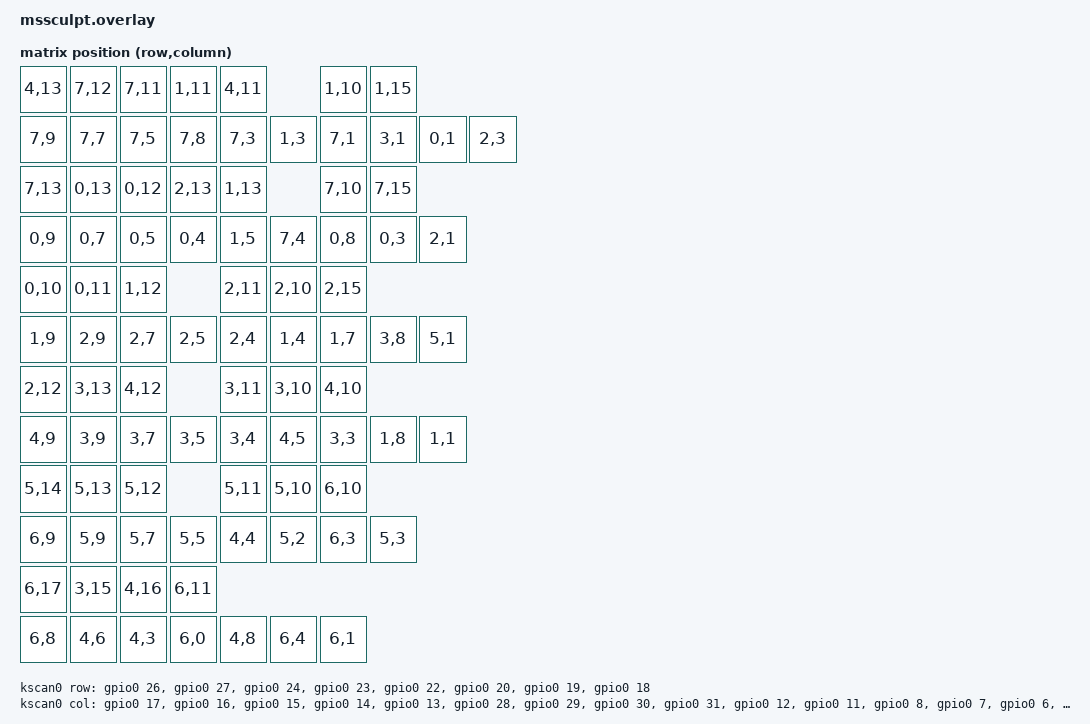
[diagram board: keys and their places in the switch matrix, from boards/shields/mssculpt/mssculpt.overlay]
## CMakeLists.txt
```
cmake_minimum_required(VERSION 3.13.1)

set(CONFIG_APPLICATION_DEFINED_SYSCALL true)
list(APPEND BOARD_ROOT ${CMAKE_SOURCE_DIR})
list(APPEND DTS_ROOT ${CMAKE_SOURCE_DIR})

# Add our custom Zephyr module for drivers w/ syscalls, etc.
list(APPEND DTS_ROOT ${CMAKE_SOURCE_DIR}/drivers/zephyr)

list(APPEND ZEPHYR_EXTRA_MODULES
  ${CMAKE_CURRENT_SOURCE_DIR}/drivers
)

include(cmake/zmk_config.cmake)

# Find Zephyr. This also loads Zephyr's build system.
find_package(Zephyr REQUIRED HINTS $ENV{ZEPHYR_BASE})
project(zmk)

zephyr_linker_sources(RODATA include/linker/zmk-events.ld)

# Add your source file to the "app" target. This must come after
# find_package(Zephyr) which defines the target.
target_include_directories(app PRIVATE include)
target_sources_ifdef(CONFIG_ZMK_SLEEP app PRIVATE src/power.c)
target_sources(app PRIVATE src/activity.c)
target_sources(app PRIVATE src/kscan.c)
target_sources(app PRIVATE src/matrix_transform.c)
target_sources(app PRIVATE src/hid.c)
target_sources(app PRIVATE src/sensors.c)
target_sources_ifdef(CONFIG_ZMK_WPM app PRIVATE src/wpm.c)
target_sources(app PRIVATE src/event_manager.c)
target_sources_ifdef(CONFIG_ZMK_EXT_POWER app PRIVATE src/ext_power_generic.c)
target_sources(app PRIVATE src/events/activity_state_changed.c)
target_sources(app PRIVATE src/events/position_state_changed.c)
target_sources(app PRIVATE src/events/layer_state_changed.c)
target_sources(app PRIVATE src/events/keycode_state_changed.c)
target_sources(app PRIVATE src/events/modifiers_state_changed.c)
target_sources(app PRIVATE src/events/sensor_event.c)
target_sources_ifdef(CONFIG_ZMK_WPM app PRIVATE src/events/wpm_state_changed.c)
target_sources_ifdef(CONFIG_ZMK_BLE app PRIVATE src/events/ble_active_profile_changed.c)
target_sources_ifdef(CONFIG_ZMK_BLE app PRIVATE src/events/battery_state_changed.c)
target_sources_ifdef(CONFIG_USB app PRIVATE src/events/usb_conn_state_changed.c)
if ((NOT CONFIG_ZMK_SPLIT) OR CONFIG_ZMK_SPLIT_BLE_ROLE_CENTRAL)
  target_sources(app PRIVATE src/behaviors/behavior_key_press.c)
  target_sources(app PRIVATE src/behaviors/behavior_reset.c)
  target_sources(app PRIVATE src/behaviors/behavior_hold_tap.c)
  target_sources(app PRIVATE src/behaviors/behavior_sticky_key.c)
  target_sources(app PRIVATE src/behaviors/behavior_momentary_layer.c)
  target_sources(app PRIVATE src/behaviors/behavior_mod_morph.c)
  target_sources(app PRIVATE src/behaviors/behavior_outputs.c)
  target_sources(app PRIVATE src/behaviors/behavior_toggle_layer.c)
  target_sources(app PRIVATE src/behaviors/behavior_to_layer.c)
  target_sources(app PRIVATE src/behaviors/behavior_transparent.c)
  target_sources(app PRIVATE src/behaviors/behavior_none.c)
  target_sources(app PRIVATE src/behaviors/behavior_sensor_rotate_key_press.c)
  target_sources_ifdef(CONFIG_ZMK_EXT_POWER app PRIVATE src/behaviors/behavior_ext_power.c)
  target_sources(app PRIVATE src/combo.c)
  target_sources(app PRIVATE src/keymap.c)
endif()
target_sources_ifdef(CONFIG_ZMK_RGB_UNDERGLOW app PRIVATE src/behaviors/behavior_rgb_underglow.c)
target_sources_ifdef(CONFIG_ZMK_BLE app PRIVATE src/behaviors/behavior_bt.c)
target_sources_ifdef(CONFIG_ZMK_BLE app PRIVATE src/ble.c)
target_sources_ifdef(CONFIG_ZMK_BLE app PRIVATE src/battery.c)
if (CONFIG_ZMK_SPLIT_BLE AND (NOT CONFIG_ZMK_SPLIT_BLE_ROLE_CENTRAL))
	target_sources(app PRIVATE src/split_listener.c)
	target_sources(app PRIVATE src/split/bluetooth/service.c)
endif()
if (CONFIG_ZMK_SPLIT_BLE AND CONFIG_ZMK_SPLIT_BLE_ROLE_CENTRAL)
	target_sources(app PRIVATE src/split/bluetooth/central.c)
endif()
target_sources_ifdef(CONFIG_USB app PRIVATE src/usb.c)
target_sources_ifdef(CONFIG_ZMK_BLE app PRIVATE src/hog.c)
target_sources_ifdef(CONFIG_ZMK_RGB_UNDERGLOW app PRIVATE src/rgb_underglow.c)
target_sources(app PRIVATE src/endpoints.c)
target_sources(app PRIVATE src/hid_listener.c)
target_sources(app PRIVATE src/main.c)

add_subdirectory(src/display/)

zephyr_cc_option(-Wfatal-errors)
```

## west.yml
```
manifest:
  remotes:
    - name: zephyrproject-rtos
      url-base: https://github.com/zephyrproject-rtos
    - name: zmkfirmware
      url-base: https://github.com/zmkfirmware
    - name: microsoft
      url-base: https://github.com/microsoft
  projects:
    - name: zephyr
      remote: zmkfirmware
      revision: v2.4.0+zmk-fixes
      clone-depth: 1
      import:
        # TODO: Rename once upstream offers option like `exclude` or `denylist`
        name-blacklist:
          - ci-tools
          - hal_altera
          - hal_cypress
          - hal_infineon
          - hal_microchip
          - hal_nxp
          - hal_openisa
          - hal_silabs
          - hal_xtensa
          - hal_st
          - hal_ti
          - loramac-node
          - mcuboot
          - mcumgr
          - net-tools
          - segger
          - openthread
          - edtt
          - trusted-firmware-m
    - name: uf2
      remote: microsoft
      path: tools/uf2
      clone-depth: 1
  self:
    west-commands: app/scripts/west-commands.yml
```

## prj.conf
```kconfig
CONFIG_BT_SETTINGS=y
CONFIG_FLASH=y
CONFIG_FLASH_MAP=y
CONFIG_NVS=y
CONFIG_SETTINGS=y

CONFIG_ZMK_BLE=y
#CONFIG_ZMK_LOG_LEVEL_DBG=y

CONFIG_CONSOLE=n
CONFIG_PRINTK=n
#CONFIG_LOG=y
CONFIG_MAIN_STACK_SIZE=8096

# RTT without drops
#CONFIG_LOG_BLOCK_IN_THREAD=y
#CONFIG_LOG_PROCESS_THREAD_SLEEP_MS=10
#CONFIG_LOG_BUFFER_SIZE=8096
#CONFIG_LOG_BACKEND_RTT_RETRY_CNT=32
#CONFIG_LOG_BACKEND_RTT_RETRY_DELAY_MS=10
```

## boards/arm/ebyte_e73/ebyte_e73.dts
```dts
/*
 * Copyright (c) 2018 Zelin <zelin@makerdiary.com>
 * Copyright (c) 2018 makerdiary.com.
 *
 * SPDX-License-Identifier: Apache-2.0
 */

/dts-v1/;
#include <nordic/nrf52832_qfaa.dtsi>

/ {
	model = "EBYTE E73";
	compatible = "ebyte-e73";

	chosen {
		zephyr,sram = &sram0;
		zephyr,flash = &flash0;
		zephyr,code-partition = &slot0_partition;
	};
};

&gpiote {
	status = "okay";
};

&gpio0 {
	status = "okay";
};

&flash0 {
	/*
	 * For more information, see:
	 * http://docs.zephyrproject.org/latest/guides/dts/index.html#flash-partitions
	 */
	partitions {
		compatible = "fixed-partitions";
		#address-cells = <1>;
		#size-cells = <1>;

		boot_partition: partition@0 {
			label = "mcuboot";
			reg = <0x00000000 0xc000>;
		};
		slot0_partition: partition@c000 {
			label = "image-0";
			reg = <0x0000C000 0x32000>;
		};
		slot1_partition: partition@3e000 {
			label = "image-1";
			reg = <0x0003E000 0x32000>;
		};
		scratch_partition: partition@70000 {
			label = "image-scratch";
			reg = <0x00070000 0xa000>;
		};
		storage_partition: partition@7a000 {
			label = "storage";
			reg = <0x0007a000 0x00006000>;
		};
	};
};
```

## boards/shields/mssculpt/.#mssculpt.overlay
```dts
m1cha@m1champc.217800:1617950996
```

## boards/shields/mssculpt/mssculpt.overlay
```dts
/*
 * Copyright (c) 2020 The ZMK Contributors
 *
 * SPDX-License-Identifier: MIT
 */

#include <dt-bindings/zmk/matrix_transform.h>

/ {
	chosen {
		zmk,kscan = &kscan0;
		zmk,matrix_transform = &default_transform;
	};

	kscan0: kscan {
		compatible = "zmk,kscan-gpio-matrix";
		label = "KSCAN";

		diode-direction = "row2col";
		row-gpios
			= <&gpio0 26 (GPIO_ACTIVE_HIGH | GPIO_OPEN_SOURCE)>
			, <&gpio0 27 (GPIO_ACTIVE_HIGH | GPIO_OPEN_SOURCE)>
			, <&gpio0 24 (GPIO_ACTIVE_HIGH | GPIO_OPEN_SOURCE)>
			, <&gpio0 23 (GPIO_ACTIVE_HIGH | GPIO_OPEN_SOURCE)>
			, <&gpio0 22 (GPIO_ACTIVE_HIGH | GPIO_OPEN_SOURCE)>
			, <&gpio0 20 (GPIO_ACTIVE_HIGH | GPIO_OPEN_SOURCE)>
			, <&gpio0 19 (GPIO_ACTIVE_HIGH | GPIO_OPEN_SOURCE)>
			, <&gpio0 18 (GPIO_ACTIVE_HIGH | GPIO_OPEN_SOURCE)>
			;
		col-gpios
			= <&gpio0 17 (GPIO_ACTIVE_HIGH | GPIO_PULL_DOWN)>
			, <&gpio0 16 (GPIO_ACTIVE_HIGH | GPIO_PULL_DOWN)>
			, <&gpio0 15 (GPIO_ACTIVE_HIGH | GPIO_PULL_DOWN)>
			, <&gpio0 14 (GPIO_ACTIVE_HIGH | GPIO_PULL_DOWN)>
			, <&gpio0 13 (GPIO_ACTIVE_HIGH | GPIO_PULL_DOWN)>
			, <&gpio0 28 (GPIO_ACTIVE_HIGH | GPIO_PULL_DOWN)>
			, <&gpio0 29 (GPIO_ACTIVE_HIGH | GPIO_PULL_DOWN)>
			, <&gpio0 30 (GPIO_ACTIVE_HIGH | GPIO_PULL_DOWN)>
			, <&gpio0 31 (GPIO_ACTIVE_HIGH | GPIO_PULL_DOWN)>
			, <&gpio0 12 (GPIO_ACTIVE_HIGH | GPIO_PULL_DOWN)>
			, <&gpio0 11 (GPIO_ACTIVE_HIGH | GPIO_PULL_DOWN)>
			, <&gpio0 8 (GPIO_ACTIVE_HIGH | GPIO_PULL_DOWN)>
			, <&gpio0 7 (GPIO_ACTIVE_HIGH | GPIO_PULL_DOWN)>
			, <&gpio0 6 (GPIO_ACTIVE_HIGH | GPIO_PULL_DOWN)>
			, <&gpio0 5 (GPIO_ACTIVE_HIGH | GPIO_PULL_DOWN)>
			, <&gpio0 4 (GPIO_ACTIVE_HIGH | GPIO_PULL_DOWN)>
			, <&gpio0 3 (GPIO_ACTIVE_HIGH | GPIO_PULL_DOWN)>
			, <&gpio0 2 (GPIO_ACTIVE_HIGH | GPIO_PULL_DOWN)>
			;
	};

	default_transform: keymap_transform_0 {
		compatible = "zmk,matrix-transform";
		rows = <8>;
		columns = <18>;
        map = <
RC(4,13) RC(7,12) RC(7,11) RC(1,11) RC(4,11) RC(1,10) RC(1,15)
RC(7,9) RC(7,7) RC(7,5) RC(7,8) RC(7,3) RC(1,3) RC(7,1) RC(3,1) RC(0,1) RC(2,3)

RC(7,13) RC(0,13) RC(0,12) RC(2,13) RC(1,13) RC(7,10) RC(7,15)
RC(0,9) RC(0,7) RC(0,5) RC(0,4) RC(1,5) RC(7,4) RC(0,8) RC(0,3) RC(2,1)

RC(0,10) RC(0,11) RC(1,12) RC(2,11) RC(2,10) RC(2,15)
RC(1,9) RC(2,9) RC(2,7) RC(2,5) RC(2,4) RC(1,4) RC(1,7) RC(3,8) RC(5,1)

RC(2,12) RC(3,13) RC(4,12) RC(3,11) RC(3,10) RC(4,10)
RC(4,9) RC(3,9) RC(3,7) RC(3,5) RC(3,4) RC(4,5) RC(3,3) RC(1,8) RC(1,1)

RC(5,14) RC(5,13) RC(5,12) RC(5,11) RC(5,10) RC(6,10)
RC(6,9) RC(5,9) RC(5,7) RC(5,5) RC(4,4) RC(5,2) RC(6,3) RC(5,3)

RC(6,17) RC(3,15) RC(4,16) RC(6,11)
RC(6,8) RC(4,6) RC(4,3) RC(6,0) RC(4,8) RC(6,4) RC(6,1)
        >;
	};
};
```

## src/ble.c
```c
/*
 * Copyright (c) 2020 The ZMK Contributors
 *
 * SPDX-License-Identifier: MIT
 */

#include <device.h>
#include <init.h>

#include <math.h>
#include <stdlib.h>
#include <stdio.h>

#include <settings/settings.h>
#include <bluetooth/bluetooth.h>
#include <bluetooth/conn.h>
#include <bluetooth/hci.h>
#include <bluetooth/uuid.h>
#include <bluetooth/gatt.h>
#include <bluetooth/hci_err.h>

#if IS_ENABLED(CONFIG_SETTINGS)

#include <settings/settings.h>

#endif

#include <logging/log.h>

LOG_MODULE_DECLARE(zmk, CONFIG_ZMK_LOG_LEVEL);

#include <zmk/ble.h>
#include <zmk/keys.h>
#include <zmk/split/bluetooth/uuid.h>
#include <zmk/event_manager.h>
#include <zmk/events/ble_active_profile_changed.h>

static struct bt_conn *auth_passkey_entry_conn;
static uint8_t passkey_entries[6] = {0, 0, 0, 0, 0, 0};
static uint8_t passkey_digit = 0;

#if IS_ENABLED(CONFIG_ZMK_SPLIT_BLE_ROLE_CENTRAL)
#define PROFILE_COUNT (CONFIG_BT_MAX_PAIRED - 1)
#else
#define PROFILE_COUNT CONFIG_BT_MAX_PAIRED
#endif

enum advertising_type {
    ZMK_ADV_NONE,
    ZMK_ADV_DIR,
    ZMK_ADV_CONN,
} advertising_status;

#define CURR_ADV(adv) (adv << 4)

#define ZMK_ADV_CONN_NAME                                                                          \
    BT_LE_ADV_PARAM(BT_LE_ADV_OPT_CONNECTABLE | BT_LE_ADV_OPT_ONE_TIME, BT_GAP_ADV_FAST_INT_MIN_2, \
                    BT_GAP_ADV_FAST_INT_MAX_2, NULL)

static struct zmk_ble_profile profiles[PROFILE_COUNT];
static uint8_t active_profile;

#define DEVICE_NAME CONFIG_BT_DEVICE_NAME
#define DEVICE_NAME_LEN (sizeof(DEVICE_NAME) - 1)

BUILD_ASSERT(DEVICE_NAME_LEN <= 16, "ERROR: BLE device name is too long. Max length: 16");

#define IS_HOST_PERIPHERAL                                                                         \
    (!IS_ENABLED(CONFIG_ZMK_SPLIT) || IS_ENABLED(CONFIG_ZMK_SPLIT_BLE_ROLE_CENTRAL))
#define IS_SPLIT_PERIPHERAL                                                                        \
    (IS_ENABLED(CONFIG_ZMK_SPLIT) && !IS_ENABLED(CONFIG_ZMK_SPLIT_BLE_ROLE_CENTRAL))

static const struct bt_data zmk_ble_ad[] = {
#if IS_HOST_PERIPHERAL
    BT_DATA(BT_DATA_NAME_COMPLETE, DEVICE_NAME, DEVICE_NAME_LEN),
    BT_DATA_BYTES(BT_DATA_GAP_APPEARANCE, 0xC1, 0x03),
#endif
    BT_DATA_BYTES(BT_DATA_FLAGS, (BT_LE_AD_GENERAL | BT_LE_AD_NO_BREDR)),
    BT_DATA_BYTES(BT_DATA_UUID16_SOME,
#if IS_HOST_PERIPHERAL
                  0x12, 0x18, /* HID Service */
#endif
                  0x0f, 0x18 /* Battery Service */
                  ),
#if IS_SPLIT_PERIPHERAL
    BT_DATA_BYTES(BT_DATA_UUID128_ALL, ZMK_SPLIT_BT_SERVICE_UUID)
#endif
};

#if IS_ENABLED(CONFIG_ZMK_SPLIT_BLE_ROLE_CENTRAL)

static bt_addr_le_t peripheral_addr;

#endif /* IS_ENABLED(CONFIG_ZMK_SPLIT_BLE_ROLE_CENTRAL) */

static void raise_profile_changed_event() {
    ZMK_EVENT_RAISE(new_zmk_ble_active_profile_changed((struct zmk_ble_active_profile_changed){
        .index = active_profile, .profile = &profiles[active_profile]}));
}

static void raise_profile_changed_event_callback(struct k_work *work) {
    raise_profile_changed_event();
}

K_WORK_DEFINE(raise_profile_changed_event_work, raise_profile_changed_event_callback);

bool zmk_ble_active_profile_is_open() {
    return !bt_addr_le_cmp(&profiles[active_profile].peer, BT_ADDR_LE_ANY);
}

void set_profile_address(uint8_t index, const bt_addr_le_t *addr) {
    char setting_name[15];
    char addr_str[BT_ADDR_LE_STR_LEN];

    bt_addr_le_to_str(addr, addr_str, sizeof(addr_str));

    memcpy(&profiles[index].peer, addr, sizeof(bt_addr_le_t));
    sprintf(setting_name, "ble/profiles/%d", index);
    LOG_DBG("Setting profile addr for %s to %s", log_strdup(setting_name), log_strdup(addr_str));
    settings_save_one(setting_name, &profiles[index], sizeof(struct zmk_ble_profile));
    k_work_submit(&raise_profile_changed_event_work);
}

bool zmk_ble_active_profile_is_connected() {
    struct bt_conn *conn;
    bt_addr_le_t *addr = zmk_ble_active_profile_addr();
    if (!bt_addr_le_cmp(addr, BT_ADDR_LE_ANY)) {
        return false;
    } else if ((conn = bt_conn_lookup_addr_le(BT_ID_DEFAULT, addr)) == NULL) {
        return false;
    }

    bt_conn_unref(conn);

    return true;
}

#define CHECKED_ADV_STOP()                                                                         \
    err = bt_le_adv_stop();                                                                        \
    advertising_status = ZMK_ADV_NONE;                                                             \
    if (err) {                                                                                     \
        LOG_ERR("Failed to stop advertising (err %d)", err);                                       \
        return err;                                                                                \
    }

#define CHECKED_DIR_ADV()                                                                          \
    addr = zmk_ble_active_profile_addr();                                                          \
    conn = bt_conn_lookup_addr_le(BT_ID_DEFAULT, addr);                                            \
    if (conn != NULL) { /* TODO: Check status of connection */                                     \
        LOG_DBG("Skipping advertising, profile host is already connected");                        \
        bt_conn_unref(conn);                                                                       \
        return 0;                                                                                  \
    }                                                                                              \
    err = bt_le_adv_start(BT_LE_ADV_CONN_DIR_LOW_DUTY(addr), zmk_ble_ad, ARRAY_SIZE(zmk_ble_ad),   \
                          NULL, 0);                                                                \
    if (err) {                                                                                     \
        LOG_ERR("Advertising failed to start (err %d)", err);                                      \
        return err;                                                                                \
    }                                                                                              \
    advertising_status = ZMK_ADV_DIR;

#define CHECKED_OPEN_ADV()                                                                         \
    err = bt_le_adv_start(ZMK_ADV_CONN_NAME, zmk_ble_ad, ARRAY_SIZE(zmk_ble_ad), NULL, 0);         \
    if (err) {                                                                                     \
        LOG_ERR("Advertising failed to start (err %d)", err);                                      \
        return err;                                                                                \
    }                                                                                              \
    advertising_status = ZMK_ADV_CONN;                                                             \
    adv_timeout_start();

static struct k_delayed_work adv_timeout_work;
static bool adv_stopped_by_timeout = false;

static void adv_timeout_handler(struct k_work *work) {
    bt_le_adv_stop();
    advertising_status = ZMK_ADV_NONE;
    adv_stopped_by_timeout = true;
}

static void adv_timeout_start(void) {
    k_delayed_work_submit(&adv_timeout_work, K_MINUTES(1));
}

int update_advertising() {
    int err = 0;
    bt_addr_le_t *addr;
    struct bt_conn *conn;
    enum advertising_type desired_adv = ZMK_ADV_NONE;

    if (zmk_ble_active_profile_is_open()) {
        desired_adv = ZMK_ADV_CONN;
    } else if (!zmk_ble_active_profile_is_connected()) {
        desired_adv = ZMK_ADV_CONN;
        // Need to fix directed advertising for privacy centrals. See
        // https://github.com/zephyrproject-rtos/zephyr/pull/14984 char
        // addr_str[BT_ADDR_LE_STR_LEN]; bt_addr_le_to_str(zmk_ble_active_profile_addr(), addr_str,
        // sizeof(addr_str));

        // LOG_DBG("Directed advertising to %s", log_strdup(addr_str));
        // desired_adv = ZMK_ADV_DIR;
    }
    LOG_DBG("advertising from %d to %d", advertising_status, desired_adv);

    k_delayed_work_cancel(&adv_timeout_work);
    adv_stopped_by_timeout = false;

    switch (desired_adv + CURR_ADV(advertising_status)) {
    case ZMK_ADV_NONE + CURR_ADV(ZMK_ADV_DIR):
    case ZMK_ADV_NONE + CURR_ADV(ZMK_ADV_CONN):
        CHECKED_ADV_STOP();
        break;
    case ZMK_ADV_DIR + CURR_ADV(ZMK_ADV_DIR):
    case ZMK_ADV_DIR + CURR_ADV(ZMK_ADV_CONN):
        CHECKED_ADV_STOP();
        CHECKED_DIR_ADV();
        break;
    case ZMK_ADV_DIR + CURR_ADV(ZMK_ADV_NONE):
        CHECKED_DIR_ADV();
        break;
    case ZMK_ADV_CONN + CURR_ADV(ZMK_ADV_DIR):
        CHECKED_ADV_STOP();
        CHECKED_OPEN_ADV();
        break;
    case ZMK_ADV_CONN + CURR_ADV(ZMK_ADV_NONE):
        CHECKED_OPEN_ADV();
        break;
    }

    return 0;
};

void zmk_ble_wakeup(void) {
    if (adv_stopped_by_timeout) {
        update_advertising();
    }
}

static void update_advertising_callback(struct k_work *work) { update_advertising(); }

K_WORK_DEFINE(update_advertising_work, update_advertising_callback);

int zmk_ble_clear_bonds() {
    LOG_DBG("");

    if (bt_addr_le_cmp(&profiles[active_profile].peer, BT_ADDR_LE_ANY)) {
        LOG_DBG("Unpairing!");
        bt_unpair(BT_ID_DEFAULT, &profiles[active_profile].peer);
        set_profile_address(active_profile, BT_ADDR_LE_ANY);
    }

    update_advertising();

    return 0;
};

int zmk_ble_active_profile_index() { return active_profile; }

#if IS_ENABLED(CONFIG_SETTINGS)
static void ble_save_profile_work(struct k_work *work) {
    settings_save_one("ble/active_profile", &active_profile, sizeof(active_profile));
}

static struct k_delayed_work ble_save_work;
#endif

static int ble_save_profile() {
#if IS_ENABLED(CONFIG_SETTINGS)
    k_delayed_work_cancel(&ble_save_work);
    return k_delayed_work_submit(&ble_save_work, K_MSEC(CONFIG_ZMK_SETTINGS_SAVE_DEBOUNCE));
#else
    return 0;
#endif
}

int zmk_ble_prof_select(uint8_t index) {
    LOG_DBG("profile %d", index);
    if (active_profile == index) {
        return 0;
    }

    active_profile = index;
    ble_save_profile();

    update_advertising();

    raise_profile_changed_event();

    return 0;
};

int zmk_ble_prof_next() {
    LOG_DBG("");
    return zmk_ble_prof_select((active_profile + 1) % PROFILE_COUNT);
};

int zmk_ble_prof_prev() {
    LOG_DBG("");
    return zmk_ble_prof_select((active_profile + PROFILE_COUNT - 1) % PROFILE_COUNT);
};

bt_addr_le_t *zmk_ble_active_profile_addr() { return &profiles[active_profile].peer; }

char *zmk_ble_active_profile_name() { return profiles[active_profile].name; }

#if IS_ENABLED(CONFIG_ZMK_SPLIT_BLE_ROLE_CENTRAL)

void zmk_ble_set_peripheral_addr(bt_addr_le_t *addr) {
    memcpy(&peripheral_addr, addr, sizeof(bt_addr_le_t));
    settings_save_one("ble/peripheral_address", addr, sizeof(bt_addr_le_t));
}

#endif /* IS_ENABLED(CONFIG_ZMK_SPLIT_BLE_ROLE_CENTRAL) */

#if IS_ENABLED(CONFIG_SETTINGS)

static int ble_profiles_handle_set(const char *name, size_t len, settings_read_cb read_cb,
                                   void *cb_arg) {
    const char *next;

    LOG_DBG("Setting BLE value %s", log_strdup(name));

    if (settings_name_steq(name, "profiles", &next) && next) {
        char *endptr;
        uint8_t idx = strtoul(next, &endptr, 10);
        if (*endptr != '\0') {
            LOG_WRN("Invalid profile index: %s", log_strdup(next));
            return -EINVAL;
        }

        if (len != sizeof(struct zmk_ble_profile)) {
            LOG_ERR("Invalid profile size (got %d expected %d)", len,
                    sizeof(struct zmk_ble_profile));
            return -EINVAL;
        }

        if (idx >= PROFILE_COUNT) {
            LOG_WRN("Profile address for index %d is larger than max of %d", idx, PROFILE_COUNT);
            return -EINVAL;
        }

        int err = read_cb(cb_arg, &profiles[idx], sizeof(struct zmk_ble_profile));
        if (err <= 0) {
            LOG_ERR("Failed to handle profile address from settings (err %d)", err);
            return err;
        }

        char addr_str[BT_ADDR_LE_STR_LEN];
        bt_addr_le_to_str(&profiles[idx].peer, addr_str, sizeof(addr_str));

        LOG_DBG("Loaded %s address for profile %d", log_strdup(addr_str), idx);
    } else if (settings_name_steq(name, "active_profile", &next) && !next) {
        if (len != sizeof(active_profile)) {
            return -EINVAL;
        }

        int err = read_cb(cb_arg, &active_profile, sizeof(active_profile));
        if (err <= 0) {
            LOG_ERR("Failed to handle active profile from settings (err %d)", err);
            return err;
        }
    }
#if IS_ENABLED(CONFIG_ZMK_SPLIT_BLE_ROLE_CENTRAL)
    else if (settings_name_steq(name, "peripheral_address", &next) && !next) {
        if (len != sizeof(bt_addr_le_t)) {
            return -EINVAL;
        }

        int err = read_cb(cb_arg, &peripheral_addr, sizeof(bt_addr_le_t));
        if (err <= 0) {
            LOG_ERR("Failed to handle peripheral address from settings (err %d)", err);
            return err;
        }
    }
#endif

    return 0;
};

struct settings_handler profiles_handler = {.name = "ble", .h_set = ble_profiles_handle_set};
#endif /* IS_ENABLED(CONFIG_SETTINGS) */

static bool is_conn_active_profile(const struct bt_conn *conn) {
    return bt_addr_le_cmp(bt_conn_get_dst(conn), &profiles[active_profile].peer) == 0;
}

static void connected(struct bt_conn *conn, uint8_t err) {
    char addr[BT_ADDR_LE_STR_LEN];
    bt_addr_le_to_str(bt_conn_get_dst(conn), addr, sizeof(addr));
    LOG_DBG("Connected thread: %p", k_current_get());

    advertising_status = ZMK_ADV_NONE;

    if (err) {
        LOG_WRN("Failed to connect to %s (%u)", log_strdup(addr), err);
        update_advertising();
        return;
    }

    LOG_DBG("Connected %s", log_strdup(addr));

    err = bt_conn_le_param_update(conn, BT_LE_CONN_PARAM(0x0006, 0x000c, 30, 400));
    if (err) {
        LOG_WRN("Failed to update LE parameters (err %d)", err);
    }

#if IS_SPLIT_PERIPHERAL
    bt_conn_le_phy_update(conn, BT_CONN_LE_PHY_PARAM_2M);
#endif

    if (bt_conn_set_security(conn, BT_SECURITY_L2)) {
        LOG_ERR("Failed to set security");
    }

    update_advertising();

    if (is_conn_active_profile(conn)) {
        LOG_DBG("Active profile connected");
        k_work_submit(&raise_profile_changed_event_work);
    }
}

static void disconnected(struct bt_conn *conn, uint8_t reason) {
    char addr[BT_ADDR_LE_STR_LEN];

    bt_addr_le_to_str(bt_conn_get_dst(conn), addr, sizeof(addr));

    LOG_DBG("Disconnected from %s (reason 0x%02x)", log_strdup(addr), reason);

    // We need to do this in a work callback, otherwise the advertising update will still see the
    // connection for a profile as active, and not start advertising yet.
    k_work_submit(&update_advertising_work);

    if (is_conn_active_profile(conn)) {
        LOG_DBG("Active profile disconnected");
        k_work_submit(&raise_profile_changed_event_work);
    }
}

static void security_changed(struct bt_conn *conn, bt_security_t level, enum bt_security_err err) {
    char addr[BT_ADDR_LE_STR_LEN];

    bt_addr_le_to_str(bt_conn_get_dst(conn), addr, sizeof(addr));

    if (!err) {
        LOG_DBG("Security changed: %s level %u", log_strdup(addr), level);
    } else {
        LOG_ERR("Security failed: %s level %u err %d", log_strdup(addr), level, err);
    }
}

static void le_param_updated(struct bt_conn *conn, uint16_t interval, uint16_t latency,
                             uint16_t timeout) {
    char addr[BT_ADDR_LE_STR_LEN];

    bt_addr_le_to_str(bt_conn_get_dst(conn), addr, sizeof(addr));

    LOG_DBG("%s: interval %d latency %d timeout %d", log_strdup(addr), interval, latency, timeout);
}

static struct bt_conn_cb conn_callbacks = {
    .connected = connected,
    .disconnected = disconnected,
    .security_changed = security_changed,
    .le_param_updated = le_param_updated,
};

/*
static void auth_passkey_display(struct bt_conn *conn, unsigned int passkey) {
    char addr[BT_ADDR_LE_STR_LEN];

    bt_addr_le_to_str(bt_conn_get_dst(conn), addr, sizeof(addr));

    LOG_DBG("Passkey for %s: %06u", log_strdup(addr), passkey);
}
*/

#ifdef CONFIG_ZMK_BLE_PASSKEY_ENTRY

static void auth_passkey_entry(struct bt_conn *conn) {
    char addr[BT_ADDR_LE_STR_LEN];

    bt_addr_le_to_str(bt_conn_get_dst(conn), addr, sizeof(addr));

    LOG_DBG("Passkey entry requested for %s", log_strdup(addr));
    auth_passkey_entry_conn = bt_conn_ref(conn);
}

#endif

static void auth_cancel(struct bt_conn *conn) {
    char addr[BT_ADDR_LE_STR_LEN];

    bt_addr_le_to_str(bt_conn_get_dst(conn), addr, sizeof(addr));

    if (auth_passkey_entry_conn) {
        bt_conn_unref(auth_passkey_entry_conn);
        auth_passkey_entry_conn = NULL;
    }

    passkey_digit = 0;

    LOG_DBG("Pairing cancelled: %s", log_strdup(addr));
}

#if IS_HOST_PERIPHERAL
static enum bt_security_err auth_pairing_accept(struct bt_conn *conn,
                                                const struct bt_conn_pairing_feat *const feat) {
    struct bt_conn_info info;
    bt_conn_get_info(conn, &info);

    LOG_DBG("role %d, open? %s", info.role, zmk_ble_active_profile_is_open() ? "yes" : "no");
    if (info.role == BT_CONN_ROLE_SLAVE && !zmk_ble_active_profile_is_open()) {
        LOG_WRN("Rejecting pairing request to taken profile %d", active_profile);
        return BT_SECURITY_ERR_PAIR_NOT_ALLOWED;
    }

    return BT_SECURITY_ERR_SUCCESS;
};
#endif /* IS_HOST_PERIPHERAL */

static void auth_pairing_complete(struct bt_conn *conn, bool bonded) {
    struct bt_conn_info info;
    char addr[BT_ADDR_LE_STR_LEN];
    const bt_addr_le_t *dst = bt_conn_get_dst(conn);

    bt_addr_le_to_str(dst, addr, sizeof(addr));
    bt_conn_get_info(conn, &info);

    if (info.role != BT_CONN_ROLE_SLAVE) {
        LOG_DBG("SKIPPING FOR ROLE %d", info.role);
        return;
    }

#if IS_HOST_PERIPHERAL
    if (!zmk_ble_active_profile_is_open()) {
        LOG_ERR("Pairing completed but current profile is not open: %s", log_strdup(addr));
        bt_unpair(BT_ID_DEFAULT, dst);
        return;
    }
#endif /* IS_HOST_PERIPHERAL */

    set_profile_address(active_profile, dst);
    update_advertising();
};

static struct bt_conn_auth_cb zmk_ble_auth_cb_display = {
#if IS_HOST_PERIPHERAL
    .pairing_accept = auth_pairing_accept,
#endif /* IS_HOST_PERIPHERAL */
    .pairing_complete = auth_pairing_complete,
// .passkey_display = auth_passkey_display,

#ifdef CONFIG_ZMK_BLE_PASSKEY_ENTRY
    .passkey_entry = auth_passkey_entry,
#endif
    .cancel = auth_cancel,
};

static void zmk_ble_ready(int err) {
    LOG_DBG("ready? %d", err);
    if (err) {
        LOG_ERR("Bluetooth init failed (err %d)", err);
        return;
    }

    update_advertising();
}

static int zmk_ble_init(const struct device *_arg) {
    k_delayed_work_init(&adv_timeout_work, adv_timeout_handler);

    int err = bt_enable(NULL);

    if (err) {
        LOG_ERR("BLUETOOTH FAILED (%d)", err);
        return err;
    }

#if IS_ENABLED(CONFIG_SETTINGS)
    settings_subsys_init();

    err = settings_register(&profiles_handler);
    if (err) {
        LOG_ERR("Failed to setup the profile settings handler (err %d)", err);
        return err;
    }

    k_delayed_work_init(&ble_save_work, ble_save_profile_work);

    settings_load_subtree("ble");
    settings_load_subtree("bt");

#endif

#if IS_ENABLED(CONFIG_ZMK_BLE_CLEAR_BONDS_ON_START)
    LOG_WRN("Clearing all existing BLE bond information from the keyboard");

    for (int i = 0; i < 10; i++) {
        bt_unpair(i, NULL);
    }

    for (int i = 0; i < PROFILE_COUNT; i++) {
        char setting_name[15];
        sprintf(setting_name, "ble/profiles/%d", i);

        err = settings_delete(setting_name);
        if (err) {
            LOG_ERR("Failed to delete setting: %d", err);
        }
    }
#endif

    bt_conn_cb_register(&conn_callbacks);
    bt_conn_auth_cb_register(&zmk_ble_auth_cb_display);

    zmk_ble_ready(0);

    return 0;
}

int zmk_ble_unpair_all() {
    int resp = 0;
    for (int i = BT_ID_DEFAULT; i < CONFIG_BT_ID_MAX; i++) {

        int err = bt_unpair(BT_ID_DEFAULT, NULL);
        if (err) {
            resp = err;
            LOG_ERR("Failed to unpair devices (err %d)", err);
        }
    }

    return resp;
};

bool zmk_ble_handle_key_user(struct zmk_key_event *key_event) {
    zmk_key_t key = key_event->key;

    if (!auth_passkey_entry_conn) {
        return true;
    }

    if (key < NUMBER_1 || key > NUMBER_0) {
        return true;
    }

    uint32_t val = (key == NUMBER_0) ? 0 : (key - NUMBER_1 + 1);

    passkey_entries[passkey_digit++] = val;

    if (passkey_digit == 6) {
        uint32_t passkey = 0;
        for (int i = 5; i >= 0; i--) {
            passkey = (passkey * 10) + val;
        }
        bt_conn_auth_passkey_entry(auth_passkey_entry_conn, passkey);
        bt_conn_unref(auth_passkey_entry_conn);
        auth_passkey_entry_conn = NULL;
    }

    return false;
}

SYS_INIT(zmk_ble_init, APPLICATION, CONFIG_ZMK_BLE_INIT_PRIORITY);
```

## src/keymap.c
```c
/*
 * Copyright (c) 2020 The ZMK Contributors
 *
 * SPDX-License-Identifier: MIT
 */

#include <sys/util.h>
#include <logging/log.h>
LOG_MODULE_DECLARE(zmk, CONFIG_ZMK_LOG_LEVEL);

#include <zmk/matrix.h>
#include <zmk/sensors.h>
#include <zmk/keymap.h>
#include <drivers/behavior.h>
#include <zmk/behavior.h>

#include <zmk/event_manager.h>
#include <zmk/events/position_state_changed.h>
#include <zmk/events/layer_state_changed.h>
#include <zmk/events/sensor_event.h>

#ifdef CONFIG_ZMK_BLE
#include <zmk/ble.h>
#endif

static zmk_keymap_layers_state_t _zmk_keymap_layer_state = 0;
static uint8_t _zmk_keymap_layer_default = 0;

#define DT_DRV_COMPAT zmk_keymap

#define LAYER_CHILD_LEN(node) 1 +
#define ZMK_KEYMAP_NODE DT_DRV_INST(0)
#define ZMK_KEYMAP_LAYERS_LEN (DT_INST_FOREACH_CHILD(0, LAYER_CHILD_LEN) 0)

#define BINDING_WITH_COMMA(idx, drv_inst) ZMK_KEYMAP_EXTRACT_BINDING(idx, drv_inst),

#define TRANSFORMED_LAYER(node)                                                                    \
    {UTIL_LISTIFY(DT_PROP_LEN(node, bindings), BINDING_WITH_COMMA, node)},

#if ZMK_KEYMAP_HAS_SENSORS
#define _TRANSFORM_SENSOR_ENTRY(idx, layer)                                                        \
    {                                                                                              \
        .behavior_dev = DT_LABEL(DT_PHANDLE_BY_IDX(layer, sensor_bindings, idx)),                  \
        .param1 = COND_CODE_0(DT_PHA_HAS_CELL_AT_IDX(layer, sensor_bindings, idx, param1), (0),    \
                              (DT_PHA_BY_IDX(layer, sensor_bindings, idx, param1))),               \
        .param2 = COND_CODE_0(DT_PHA_HAS_CELL_AT_IDX(layer, sensor_bindings, idx, param2), (0),    \
                              (DT_PHA_BY_IDX(layer, sensor_bindings, idx, param2))),               \
    },

#define SENSOR_LAYER(node)                                                                         \
    COND_CODE_1(                                                                                   \
        DT_NODE_HAS_PROP(node, sensor_bindings),                                                   \
        ({UTIL_LISTIFY(DT_PROP_LEN(node, sensor_bindings), _TRANSFORM_SENSOR_ENTRY, node)}),       \
        ({})),

#endif /* ZMK_KEYMAP_HAS_SENSORS */

#define LAYER_LABEL(node) COND_CODE_0(DT_NODE_HAS_PROP(node, label), (NULL), (DT_LABEL(node))),

// State

// When a behavior handles a key position "down" event, we record the layer state
// here so that even if that layer is deactivated before the "up", event, we
// still send the release event to the behavior in that layer also.
static uint32_t zmk_keymap_active_behavior_layer[ZMK_KEYMAP_LEN];

static struct zmk_behavior_binding zmk_keymap[ZMK_KEYMAP_LAYERS_LEN][ZMK_KEYMAP_LEN] = {
    DT_INST_FOREACH_CHILD(0, TRANSFORMED_LAYER)};

static const char *zmk_keymap_layer_names[ZMK_KEYMAP_LAYERS_LEN] = {
    DT_INST_FOREACH_CHILD(0, LAYER_LABEL)};

#if ZMK_KEYMAP_HAS_SENSORS

static struct zmk_behavior_binding zmk_sensor_keymap[ZMK_KEYMAP_LAYERS_LEN]
                                                    [ZMK_KEYMAP_SENSORS_LEN] = {
                                                        DT_INST_FOREACH_CHILD(0, SENSOR_LAYER)};

#endif /* ZMK_KEYMAP_HAS_SENSORS */

static inline int set_layer_state(uint8_t layer, bool state) {
    if (layer >= ZMK_KEYMAP_LAYERS_LEN) {
        return -EINVAL;
    }

    // Default layer should *always* remain active
    if (layer == _zmk_keymap_layer_default && !state) {
        return 0;
    }

    zmk_keymap_layers_state_t old_state = _zmk_keymap_layer_state;
    WRITE_BIT(_zmk_keymap_layer_state, layer, state);
    // Don't send state changes unless there was an actual change
    if (old_state != _zmk_keymap_layer_state) {
        LOG_DBG("layer_changed: layer %d state %d", layer, state);
        ZMK_EVENT_RAISE(create_layer_state_changed(layer, state));
    }

    return 0;
}

uint8_t zmk_keymap_layer_default() { return _zmk_keymap_layer_default; }

zmk_keymap_layers_state_t zmk_keymap_layer_state() { return _zmk_keymap_layer_state; }

bool zmk_keymap_layer_active_with_state(uint8_t layer, zmk_keymap_layers_state_t state_to_test) {
    // The default layer is assumed to be ALWAYS ACTIVE so we include an || here to ensure nobody
    // breaks up that assumption by accident
    return (state_to_test & (BIT(layer))) == (BIT(layer)) || layer == _zmk_keymap_layer_default;
};

bool zmk_keymap_layer_active(uint8_t layer) {
    return zmk_keymap_layer_active_with_state(layer, _zmk_keymap_layer_state);
};

uint8_t zmk_keymap_highest_layer_active() {
    for (uint8_t layer = ZMK_KEYMAP_LAYERS_LEN - 1; layer > 0; layer--) {
        if (zmk_keymap_layer_active(layer)) {
            return layer;
        }
    }
    return zmk_keymap_layer_default();
}

int zmk_keymap_layer_activate(uint8_t layer) { return set_layer_state(layer, true); };

int zmk_keymap_layer_deactivate(uint8_t layer) { return set_layer_state(layer, false); };

int zmk_keymap_layer_toggle(uint8_t layer) {
    if (zmk_keymap_layer_active(layer)) {
        return zmk_keymap_layer_deactivate(layer);
    }

    return zmk_keymap_layer_activate(layer);
};

int zmk_keymap_layer_to(uint8_t layer) {
    for (int i = ZMK_KEYMAP_LAYERS_LEN - 1; i >= 0; i--) {
        zmk_keymap_layer_deactivate(i);
    }

    zmk_keymap_layer_activate(layer);

    return 0;
}

bool is_active_layer(uint8_t layer, zmk_keymap_layers_state_t layer_state) {
    return (layer_state & BIT(layer)) == BIT(layer) || layer == _zmk_keymap_layer_default;
}

const char *zmk_keymap_layer_label(uint8_t layer) {
    if (layer >= ZMK_KEYMAP_LAYERS_LEN) {
        return NULL;
    }

    return zmk_keymap_layer_names[layer];
}

int zmk_keymap_apply_position_state(int layer, uint32_t position, bool pressed, int64_t timestamp) {
    // We want to make a copy of this, since it may be converted from
    // relative to absolute before being invoked
    struct zmk_behavior_binding binding = zmk_keymap[layer][position];
    const struct device *behavior;
    struct zmk_behavior_binding_event event = {
        .layer = layer,
        .position = position,
        .timestamp = timestamp,
    };

    LOG_DBG("layer: %d position: %d, binding name: %s", layer, position,
            log_strdup(binding.behavior_dev));

    behavior = device_get_binding(binding.behavior_dev);

    if (!behavior) {
        LOG_DBG("No behavior assigned to %d on layer %d", position, layer);
        return 1;
    }

    int err = behavior_keymap_binding_convert_central_state_dependent_params(&binding, event);
    if (err) {
        LOG_ERR("Failed to convert relative to absolute behavior binding (err %d)", err);
        return err;
    }

    if (pressed) {
#ifdef CONFIG_ZMK_BLE
        zmk_ble_wakeup();
#endif
        return behavior_keymap_binding_pressed(&binding, event);
    } else {
        return behavior_keymap_binding_released(&binding, event);
    }
}

int zmk_keymap_position_state_changed(uint32_t position, bool pressed, int64_t timestamp) {
    if (pressed) {
        zmk_keymap_active_behavior_layer[position] = _zmk_keymap_layer_state;
    }
    for (int layer = ZMK_KEYMAP_LAYERS_LEN - 1; layer >= _zmk_keymap_layer_default; layer--) {
        if (zmk_keymap_layer_active_with_state(layer, zmk_keymap_active_behavior_layer[position])) {
            int ret = zmk_keymap_apply_position_state(layer, position, pressed, timestamp);
            if (ret > 0) {
                LOG_DBG("behavior processing to continue to next layer");
                continue;
            } else if (ret < 0) {
                LOG_DBG("Behavior returned error: %d", ret);
                return ret;
            } else {
                return ret;
            }
        }
    }

    return -ENOTSUP;
}

#if ZMK_KEYMAP_HAS_SENSORS
int zmk_keymap_sensor_triggered(uint8_t sensor_number, const struct device *sensor,
                                int64_t timestamp) {
    for (int layer = ZMK_KEYMAP_LAYERS_LEN - 1; layer >= _zmk_keymap_layer_default; layer--) {
        if (zmk_keymap_layer_active(layer) && zmk_sensor_keymap[layer] != NULL) {
            struct zmk_behavior_binding *binding = &zmk_sensor_keymap[layer][sensor_number];
            const struct device *behavior;
            int ret;

            LOG_DBG("layer: %d sensor_number: %d, binding name: %s", layer, sensor_number,
                    log_strdup(binding->behavior_dev));

            behavior = device_get_binding(binding->behavior_dev);

            if (!behavior) {
                LOG_DBG("No behavior assigned to %d on layer %d", sensor_number, layer);
                continue;
            }

            ret = behavior_sensor_keymap_binding_triggered(binding, sensor, timestamp);

            if (ret > 0) {
                LOG_DBG("behavior processing to continue to next layer");
                continue;
            } else if (ret < 0) {
                LOG_DBG("Behavior returned error: %d", ret);
                return ret;
            } else {
                return ret;
            }
        }
    }

    return -ENOTSUP;
}

#endif /* ZMK_KEYMAP_HAS_SENSORS */

int keymap_listener(const zmk_event_t *eh) {
    const struct zmk_position_state_changed *pos_ev;
    if ((pos_ev = as_zmk_position_state_changed(eh)) != NULL) {
        return zmk_keymap_position_state_changed(pos_ev->position, pos_ev->state,
                                                 pos_ev->timestamp);
    }

#if ZMK_KEYMAP_HAS_SENSORS
    const struct zmk_sensor_event *sensor_ev;
    if ((sensor_ev = as_zmk_sensor_event(eh)) != NULL) {
        return zmk_keymap_sensor_triggered(sensor_ev->sensor_number, sensor_ev->sensor,
                                           sensor_ev->timestamp);
    }
#endif /* ZMK_KEYMAP_HAS_SENSORS */

    return -ENOTSUP;
}

ZMK_LISTENER(keymap, keymap_listener);
ZMK_SUBSCRIPTION(keymap, zmk_position_state_changed);

#if ZMK_KEYMAP_HAS_SENSORS
ZMK_SUBSCRIPTION(keymap, zmk_sensor_event);
#endif /* ZMK_KEYMAP_HAS_SENSORS */
```
